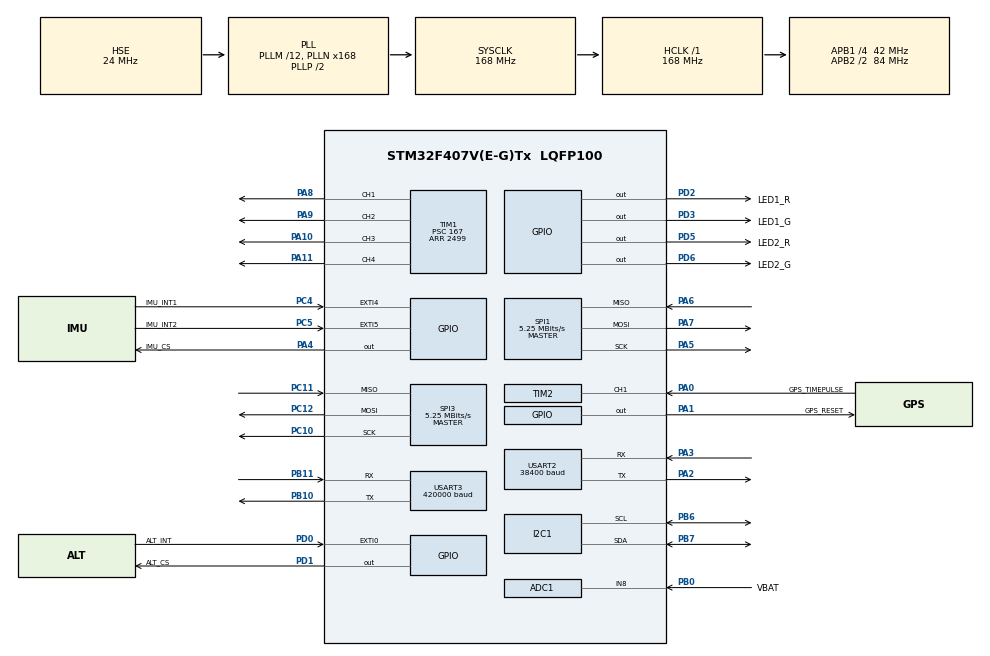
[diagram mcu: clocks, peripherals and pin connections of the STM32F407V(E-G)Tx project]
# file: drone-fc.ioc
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ADC1.Channel-0\#ChannelRegularConversion=ADC_CHANNEL_8
ADC1.NbrOfConversion=1
ADC1.NbrOfConversionFlag=1
ADC1.Rank-0\#ChannelRegularConversion=1
ADC1.SamplingTime-0\#ChannelRegularConversion=ADC_SAMPLETIME_480CYCLES
ADC1.master=1
Dma.Request0=SPI1_RX
Dma.Request1=SPI1_TX
Dma.Request2=USART2_RX
Dma.Request3=USART3_RX
Dma.Request4=SPI3_RX
Dma.Request5=SPI3_TX
Dma.SPI1_RX.0.Direction=DMA_PERIPH_TO_MEMORY
Dma.SPI1_RX.0.FIFOMode=DMA_FIFOMODE_DISABLE
Dma.SPI1_RX.0.Instance=DMA2_Stream0
Dma.SPI1_RX.0.MemDataAlignment=DMA_MDATAALIGN_BYTE
Dma.SPI1_RX.0.MemInc=DMA_MINC_ENABLE
Dma.SPI1_RX.0.Mode=DMA_NORMAL
Dma.SPI1_RX.0.PeriphDataAlignment=DMA_PDATAALIGN_BYTE
Dma.SPI1_RX.0.PeriphInc=DMA_PINC_DISABLE
Dma.SPI1_RX.0.Priority=DMA_PRIORITY_VERY_HIGH
Dma.SPI1_TX.1.Direction=DMA_MEMORY_TO_PERIPH
Dma.SPI1_TX.1.FIFOMode=DMA_FIFOMODE_DISABLE
Dma.SPI1_TX.1.Instance=DMA2_Stream3
Dma.SPI1_TX.1.MemDataAlignment=DMA_MDATAALIGN_BYTE
Dma.SPI1_TX.1.MemInc=DMA_MINC_ENABLE
Dma.SPI1_TX.1.Mode=DMA_NORMAL
Dma.SPI1_TX.1.PeriphDataAlignment=DMA_PDATAALIGN_BYTE
Dma.SPI1_TX.1.PeriphInc=DMA_PINC_DISABLE
Dma.SPI1_TX.1.Priority=DMA_PRIORITY_VERY_HIGH
Dma.SPI3_RX.4.Direction=DMA_PERIPH_TO_MEMORY
Dma.SPI3_RX.4.FIFOMode=DMA_FIFOMODE_DISABLE
Dma.SPI3_RX.4.Instance=DMA1_Stream0
Dma.SPI3_RX.4.MemDataAlignment=DMA_MDATAALIGN_BYTE
Dma.SPI3_RX.4.MemInc=DMA_MINC_ENABLE
Dma.SPI3_RX.4.Mode=DMA_NORMAL
Dma.SPI3_RX.4.PeriphDataAlignment=DMA_PDATAALIGN_BYTE
Dma.SPI3_RX.4.PeriphInc=DMA_PINC_DISABLE
Dma.SPI3_RX.4.Priority=DMA_PRIORITY_MEDIUM
Dma.SPI3_TX.5.Direction=DMA_MEMORY_TO_PERIPH
Dma.SPI3_TX.5.FIFOMode=DMA_FIFOMODE_DISABLE
Dma.SPI3_TX.5.Instance=DMA1_Stream7
Dma.SPI3_TX.5.MemDataAlignment=DMA_MDATAALIGN_BYTE
Dma.SPI3_TX.5.MemInc=DMA_MINC_ENABLE
Dma.SPI3_TX.5.Mode=DMA_NORMAL
Dma.SPI3_TX.5.PeriphDataAlignment=DMA_PDATAALIGN_BYTE
Dma.SPI3_TX.5.PeriphInc=DMA_PINC_DISABLE
Dma.SPI3_TX.5.Priority=DMA_PRIORITY_MEDIUM
Dma.USART2_RX.2.Direction=DMA_PERIPH_TO_MEMORY
Dma.USART2_RX.2.FIFOMode=DMA_FIFOMODE_DISABLE
Dma.USART2_RX.2.Instance=DMA1_Stream5
Dma.USART2_RX.2.MemDataAlignment=DMA_MDATAALIGN_BYTE
Dma.USART2_RX.2.MemInc=DMA_MINC_ENABLE
Dma.USART2_RX.2.Mode=DMA_CIRCULAR
Dma.USART2_RX.2.PeriphDataAlignment=DMA_PDATAALIGN_BYTE
Dma.USART2_RX.2.PeriphInc=DMA_PINC_DISABLE
Dma.USART2_RX.2.Priority=DMA_PRIORITY_HIGH
Dma.USART3_RX.3.Direction=DMA_PERIPH_TO_MEMORY
Dma.USART3_RX.3.FIFOMode=DMA_FIFOMODE_DISABLE
Dma.USART3_RX.3.Instance=DMA1_Stream1
Dma.USART3_RX.3.MemDataAlignment=DMA_MDATAALIGN_BYTE
Dma.USART3_RX.3.MemInc=DMA_MINC_ENABLE
Dma.USART3_RX.3.Mode=DMA_CIRCULAR
Dma.USART3_RX.3.PeriphDataAlignment=DMA_PDATAALIGN_BYTE
Dma.USART3_RX.3.PeriphInc=DMA_PINC_DISABLE
Dma.USART3_RX.3.Priority=DMA_PRIORITY_HIGH
Mcu.Family=STM32F4
Mcu.Name=STM32F407V(E-G)Tx
Mcu.Package=LQFP100
NVIC.DMA1_Stream0_IRQn=true\:3\:0\:true\:false\:true\:false\:true\:true
NVIC.DMA1_Stream1_IRQn=true\:3\:0\:true\:false\:true\:false\:true\:true
NVIC.DMA1_Stream5_IRQn=true\:3\:0\:true\:false\:true\:false\:true\:true
NVIC.DMA1_Stream7_IRQn=true\:3\:0\:true\:false\:true\:false\:true\:true
NVIC.DMA2_Stream0_IRQn=true\:0\:0\:false\:false\:true\:false\:true\:true
NVIC.DMA2_Stream3_IRQn=true\:0\:0\:false\:false\:true\:false\:true\:true
NVIC.EXTI0_IRQn=true\:4\:0\:true\:false\:true\:true\:true\:true
NVIC.EXTI4_IRQn=true\:0\:0\:true\:false\:true\:true\:true\:true
NVIC.PriorityGroup=NVIC_PRIORITYGROUP_4
NVIC.TIM3_IRQn=true\:7\:0\:true\:false\:true\:true\:true\:true
NVIC.USART2_IRQn=true\:3\:0\:true\:false\:true\:true\:true\:true
NVIC.USART3_IRQn=true\:3\:0\:true\:false\:true\:true\:true\:true
PA0-WKUP.GPIO_Label=GPS_TIMEPULSE
PA0-WKUP.Signal=S_TIM2_CH1_ETR
PA1.GPIO_Label=GPS_RESET
PA1.PinState=GPIO_PIN_SET
PA1.Signal=GPIO_Output
PA10.Signal=S_TIM1_CH3
PA11.Signal=S_TIM1_CH4
PA13.Signal=SYS_JTMS-SWDIO
PA14.Signal=SYS_JTCK-SWCLK
PA2.Mode=Asynchronous
PA2.Signal=USART2_TX
PA3.Mode=Asynchronous
PA3.Signal=USART2_RX
PA4.GPIO_Label=IMU_CS
PA4.PinState=GPIO_PIN_SET
PA4.Signal=GPIO_Output
PA5.Mode=Full_Duplex_Master
PA5.Signal=SPI1_SCK
PA6.Mode=Full_Duplex_Master
PA6.Signal=SPI1_MISO
PA7.Mode=Full_Duplex_Master
PA7.Signal=SPI1_MOSI
PA8.Signal=S_TIM1_CH1
PA9.Signal=S_TIM1_CH2
PB0.GPIO_Label=VBAT
PB0.Signal=ADCx_IN8
PB10.Mode=Asynchronous
PB10.Signal=USART3_TX
PB11.Mode=Asynchronous
PB11.Signal=USART3_RX
PB6.Mode=I2C
PB6.Signal=I2C1_SCL
PB7.Mode=I2C
PB7.Signal=I2C1_SDA
PC10.Mode=Full_Duplex_Master
PC10.Signal=SPI3_SCK
PC11.Mode=Full_Duplex_Master
PC11.Signal=SPI3_MISO
PC12.Mode=Full_Duplex_Master
PC12.Signal=SPI3_MOSI
PC4.GPIO_Label=IMU_INT1
PC4.Signal=GPXTI4
PC5.GPIO_Label=IMU_INT2
PC5.Signal=GPXTI5
PD0.GPIO_Label=ALT_INT
PD0.Signal=GPXTI0
PD1.GPIO_Label=ALT_CS
PD1.PinState=GPIO_PIN_SET
PD1.Signal=GPIO_Output
PD2.GPIO_Label=LED1_R
PD2.PinState=GPIO_PIN_SET
PD2.Signal=GPIO_Output
PD3.GPIO_Label=LED1_G
PD3.PinState=GPIO_PIN_SET
PD3.Signal=GPIO_Output
PD5.GPIO_Label=LED2_R
PD5.PinState=GPIO_PIN_SET
PD5.Signal=GPIO_Output
PD6.GPIO_Label=LED2_G
PD6.PinState=GPIO_PIN_SET
PD6.Signal=GPIO_Output
PH0-OSC_IN.Mode=HSE-External-Oscillator
PH0-OSC_IN.Signal=RCC_OSC_IN
PH1-OSC_OUT.Mode=HSE-External-Oscillator
PH1-OSC_OUT.Signal=RCC_OSC_OUT
ProjectManager.HeapSize=0x200
ProjectManager.StackSize=0x1000
ProjectManager.TargetToolchain=CMake
RCC.48MHZClocksFreq_Value=84000000
RCC.AHBFreq_Value=168000000
RCC.APB1CLKDivider=RCC_HCLK_DIV4
RCC.APB1Freq_Value=42000000
RCC.APB1TimFreq_Value=84000000
RCC.APB2CLKDivider=RCC_HCLK_DIV2
RCC.APB2Freq_Value=84000000
RCC.APB2TimFreq_Value=168000000
RCC.CortexFreq_Value=168000000
RCC.HCLKFreq_Value=168000000
RCC.HSE_VALUE=24000000
RCC.HSI_VALUE=16000000
RCC.LSE_VALUE=32768
RCC.PLLM=12
RCC.PLLN=168
RCC.PLLSourceVirtual=RCC_PLLSOURCE_HSE
RCC.SYSCLKFreq_VALUE=168000000
RCC.SYSCLKSource=RCC_SYSCLKSOURCE_PLLCLK
RCC.VCOOutputFreq_Value=336000000
SH.ADCx_IN8.0=ADC1_IN8,IN8
SH.S_TIM1_CH1.0=TIM1_CH1,PWM Generation1 CH1
SH.S_TIM1_CH2.0=TIM1_CH2,PWM Generation2 CH2
SH.S_TIM1_CH3.0=TIM1_CH3,PWM Generation3 CH3
SH.S_TIM1_CH4.0=TIM1_CH4,PWM Generation4 CH4
SH.S_TIM2_CH1_ETR.0=TIM2_CH1,Input_Capture1_from_TI1
SPI1.BaudRatePrescaler=SPI_BAUDRATEPRESCALER_16
SPI1.CLKPhase=SPI_PHASE_2EDGE
SPI1.CLKPolarity=SPI_POLARITY_HIGH
SPI1.CalculateBaudRate=5.25 MBits/s
SPI1.Direction=SPI_DIRECTION_2LINES
SPI1.Mode=SPI_MODE_MASTER
SPI1.VirtualType=VM_MASTER
SPI3.BaudRatePrescaler=SPI_BAUDRATEPRESCALER_8
SPI3.CLKPhase=SPI_PHASE_2EDGE
SPI3.CLKPolarity=SPI_POLARITY_HIGH
SPI3.CalculateBaudRate=5.25 MBits/s
SPI3.Direction=SPI_DIRECTION_2LINES
SPI3.Mode=SPI_MODE_MASTER
SPI3.VirtualType=VM_MASTER
TIM1.Channel-PWM\ Generation1\ CH1=TIM_CHANNEL_1
TIM1.Channel-PWM\ Generation2\ CH2=TIM_CHANNEL_2
TIM1.Channel-PWM\ Generation3\ CH3=TIM_CHANNEL_3
TIM1.Channel-PWM\ Generation4\ CH4=TIM_CHANNEL_4
TIM1.Period=2499
TIM1.Prescaler=167
TIM2.Channel-Input_Capture1_from_TI1=TIM_CHANNEL_1
TIM3.Period=1999
TIM3.Prescaler=8499
USART2.BaudRate=38400
USART2.VirtualMode=VM_ASYNC
USART3.BaudRate=420000
USART3.VirtualMode=VM_ASYNC
VP_TIM1_VS_ClockSourceINT.Mode=Internal
VP_TIM3_VS_ClockSourceINT.Mode=Internal
board=custom

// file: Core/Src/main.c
/* USER CODE BEGIN Header */
/**
  ******************************************************************************
  * @file           : main.c
  * @brief          : Flight controller firmware
  * @author					: Nestor Stavrakoudis
  ******************************************************************************
  * Firmware for the autonomous drone's flight controller board.
  * Blocks outside USER CODE delimiters are automatically
  * generated by STM32CubeMX.
  ******************************************************************************
**/

/* USER CODE END Header */
#include "main.h"
#include "adc.h"
#include "dma.h"
#include "i2c.h"
#include "iwdg.h"
#include "spi.h"
#include "tim.h"
#include "usart.h"
#include "gpio.h"

/* USER CODE BEGIN Includes */
#include <math.h>

#include "lsm6dsv32x.h" // IMU header
#include "bmp388.h"			// Barometer header
#include "sam_m10q.h"		// GPS header
#include "ep1.h"				// Radio receiver header
/* USER CODE END Includes */

/* USER CODE BEGIN PTD */
typedef enum {
	AUTONOMOUS,
	MANUAL_ONLY,
	FATAL,
	UNDETERMINED
} Sensor_Status;

typedef struct {
	float roll;
	float pitch;
	float yaw;
} Attitude;

typedef struct {
	int16_t FL;	//Front left
	int16_t FR;	//Front right
	int16_t BL;	//Back left
	int16_t BR;	//Back right
} Motor_PWM_Packet;
/* USER CODE END PTD */

/* USER CODE BEGIN PD */
#define RAD_TO_DEG 57.2957795131f		// We avoid 180/M_PI to save CPU work

/* PID values follow, these are just placeholders and must be experimentally tested*/
#define PITCH_P	1.5f		// Proportional term of the pitch PID loop.
#define PITCH_I	0.001f		// Integral term of the pitch PID loop.
#define PITCH_D	200.0f		// Derivative term of the pitch PID loop.

#define ROLL_P	1.5f		// Proportional term of the roll PID loop.
#define ROLL_I	0.001f		// Integral term of the roll PID loop.
#define ROLL_D	200.0f		// Derivative term of the roll PID loop.

#define YAW_P	0.7f				// Proportianal term of the yaw PID loop.
#define YAW_I	0.005f			// Integral term of the yaw PID loop.
// Yaw does not usually have a derivative term

#define ROLL_PITCH_AUTHORITY 2.5f		// Yaw output is divided by this to keep roll/pitch the most important factors

#define PID_I_LIMIT		10000.0f		// PID integral term clamp
#define PID_OUT_LIMIT	400.0f		// Maximum output
#define THROTTLE_I_THRESHOLD	0.1f	// Below a certain throttle (for example on ground) we shouldn't use
																	// the integrator term because it keeps rising

#define RADIO_TIMEOUT	300				// Timeout in milliseconds

#define EXTREME_STATE_THRESHOLD	200	// Held more than these samples in extreme state shuts motors off
#define EXTREME_STATE_ANGLE			70	// Extreme state angle threshold

#define MOTOR_TIMER		&htim1
#define MOTOR_FL				TIM_CHANNEL_1
#define MOTOR_FR				TIM_CHANNEL_2
#define MOTOR_BL				TIM_CHANNEL_3
#define MOTOR_BR				TIM_CHANNEL_4
/* USER CODE END PD */

/* USER CODE BEGIN PM */

#define LED1_R_On()	(HAL_GPIO_WritePin(LED1_R_GPIO_Port,LED1_R_Pin,GPIO_PIN_RESET))
#define LED1_G_On()	(HAL_GPIO_WritePin(LED1_G_GPIO_Port,LED1_G_Pin,GPIO_PIN_RESET))
#define LED2_R_On()	(HAL_GPIO_WritePin(LED2_R_GPIO_Port,LED2_R_Pin,GPIO_PIN_RESET))
#define LED2_G_On()	(HAL_GPIO_WritePin(LED2_G_GPIO_Port,LED2_G_Pin,GPIO_PIN_RESET))

#define LED1_R_Off()	(HAL_GPIO_WritePin(LED1_R_GPIO_Port,LED1_R_Pin,GPIO_PIN_SET))
#define LED1_G_Off()	(HAL_GPIO_WritePin(LED1_G_GPIO_Port,LED1_G_Pin,GPIO_PIN_SET))
#define LED2_R_Off()	(HAL_GPIO_WritePin(LED2_R_GPIO_Port,LED2_R_Pin,GPIO_PIN_SET))
#define LED2_G_Off()	(HAL_GPIO_WritePin(LED2_G_GPIO_Port,LED2_G_Pin,GPIO_PIN_SET))

#define LED1_R_Toggle()	(HAL_GPIO_TogglePin(LED1_R_GPIO_Port,LED1_R_Pin))
#define LED1_G_Toggle()	(HAL_GPIO_TogglePin(LED1_G_GPIO_Port,LED1_G_Pin))
#define LED2_R_Toggle()	(HAL_GPIO_TogglePin(LED2_R_GPIO_Port,LED2_R_Pin))
#define LED2_G_Toggle()	(HAL_GPIO_TogglePin(LED2_G_GPIO_Port,LED2_G_Pin))
/* USER CODE END PM */

/* USER CODE BEGIN PV */
volatile Sensor_Status sensor_status = UNDETERMINED;
volatile Attitude attitude;				// Attitude
volatile Attitude attitude_accel;	// Attitude (accelerometer only)
volatile Attitude error;
volatile Attitude error_old;

volatile Motor_PWM_Packet Motor_PWM;

volatile float roll_error_i;		// integral accumulator of roll pid loop
volatile float pitch_error_i;		// integral accumulator of pitch pid loop

volatile float yaw_rate_error;	// integral accumulator of yaw rate
volatile float yaw_error_i;			// integral accumulator of yaw pid loop

volatile uint16_t extreme_state_counter = 0;	// Used for detecting crashed orientations

volatile uint8_t failsafe = 0;
volatile uint8_t arm_switch_seen_low = 0;

/* USER CODE END PV */

void SystemClock_Config(void);

/* USER CODE BEGIN 0 */
void IMU_TxRxCpltCallback();
void ALT_TxRxCpltCallback();

void LED_Test_Sequence();

void HAL_SPI_TxRxCpltCallback(SPI_HandleTypeDef *hspi){
	if (hspi == IMU_INTERFACE){ // These events refer to the IMU SPI DMA.
		IMU_TxRxCpltCallback();
	}
	if (hspi == ALT_INTERFACE){
		ALT_TxRxCpltCallback();
	}
}

void IMU_TxRxCpltCallback(){
	HAL_GPIO_WritePin(IMU_CS_GPIO_Port, IMU_CS_Pin, GPIO_PIN_SET);
	switch(IMU_Current_DMA_Transaction) {
		case IMU_WRITE_REG:
			break; // No additional processing is required on register write.
		case IMU_SINGLE_REG:
			break; // Not used yet (all single register reads use blocking mode)
		case IMU_PACKET: // Parse IMU Packet
			failsafe = (HAL_GetTick() - Radio_Timestamp >= RADIO_TIMEOUT)
				                || extreme_state_counter >= EXTREME_STATE_THRESHOLD
				                || Radio_Scaled.kill || !IMU_Calibrated;

			IMU_Raw.A_X = (IMU_SPI_IMUPacket_RX[IMU_OUTX_H_A-0x21] << 8) + IMU_SPI_IMUPacket_RX[IMU_OUTX_L_A-0x21];
			IMU_Raw.A_Y = (IMU_SPI_IMUPacket_RX[IMU_OUTY_H_A-0x21] << 8) + IMU_SPI_IMUPacket_RX[IMU_OUTY_L_A-0x21];
			IMU_Raw.A_Z = (IMU_SPI_IMUPacket_RX[IMU_OUTZ_H_A-0x21] << 8) + IMU_SPI_IMUPacket_RX[IMU_OUTZ_L_A-0x21];

			IMU_Raw.G_X = (IMU_SPI_IMUPacket_RX[IMU_OUTX_H_G-0x21] << 8) + IMU_SPI_IMUPacket_RX[IMU_OUTX_L_G-0x21];
			IMU_Raw.G_Y = (IMU_SPI_IMUPacket_RX[IMU_OUTY_H_G-0x21] << 8) + IMU_SPI_IMUPacket_RX[IMU_OUTY_L_G-0x21];
			IMU_Raw.G_Z = (IMU_SPI_IMUPacket_RX[IMU_OUTZ_H_G-0x21] << 8) + IMU_SPI_IMUPacket_RX[IMU_OUTZ_L_G-0x21];

			IMU_Data.A_X = IMU_Raw.A_X * 0.976f - IMU_Bias.A_X;	// Scaling factor comes from "Linear
			IMU_Data.A_Y = IMU_Raw.A_Y * 0.976f - IMU_Bias.A_Y;	// acceleration sensitivity", p.12 on datasheet
			IMU_Data.A_Z = IMU_Raw.A_Z * 0.976f - IMU_Bias.A_Z;

			IMU_Data.G_X = IMU_Raw.G_X * 0.07f - IMU_Bias.G_X;	// Scaling factor comes from "Angular
			IMU_Data.G_Y = IMU_Raw.G_Y * 0.07f - IMU_Bias.G_Y;	// rate sensitivity", p.12 on datasheet
			IMU_Data.G_Z = IMU_Raw.G_Z * 0.07f - IMU_Bias.G_Z;

			IMU_Angles.G_X += IMU_Data.G_X / 1920.0f;	// Integrate rates
			IMU_Angles.G_Y += IMU_Data.G_Y / 1920.0f;
			IMU_Angles.G_Z += IMU_Data.G_Z / 1920.0f;

			error_old.roll = Radio_Scaled.roll - attitude.roll;
			error_old.pitch = Radio_Scaled.pitch - attitude.pitch;

			attitude_accel.roll = atan2f(IMU_Data.A_Y, IMU_Data.A_Z);
			attitude_accel.roll *= RAD_TO_DEG;
			attitude.roll += IMU_Data.G_X*0.000520833f;//1/1920
			attitude.roll = IMU_FILTER_COEFFICIENT * attitude.roll + (1-IMU_FILTER_COEFFICIENT) *
					attitude_accel.roll;		// Complementary filter for roll

			attitude_accel.pitch = atan2f(-IMU_Data.A_X, sqrtf(IMU_Data.A_Y*IMU_Data.A_Y + IMU_Data.A_Z*IMU_Data.A_Z));
			attitude_accel.pitch *= RAD_TO_DEG;
			attitude.pitch += IMU_Data.G_Y*0.000520833f;//1/1920
			attitude.pitch = IMU_FILTER_COEFFICIENT * attitude.pitch + (1-IMU_FILTER_COEFFICIENT) *
								attitude_accel.pitch;	// Complementary filter for pitch

			attitude.yaw += IMU_Data.G_Z*0.000520833f;	// Yaw has no complementary filter as gravity reference does not change by rotating about the yaw axis

			if(IMU_Calibrated){
				roll_error_i += Radio_Scaled.roll-attitude.roll;
				roll_error_i *= ((!Radio_Scaled.armed ||
						Radio_Scaled.throttle < THROTTLE_I_THRESHOLD)?0:1);
				if(roll_error_i>PID_I_LIMIT) roll_error_i=PID_I_LIMIT;
				if(roll_error_i<-PID_I_LIMIT) roll_error_i=-PID_I_LIMIT;

				pitch_error_i += Radio_Scaled.pitch-attitude.pitch;
				pitch_error_i *= ((!Radio_Scaled.armed ||
						Radio_Scaled.throttle < THROTTLE_I_THRESHOLD)?0:1);
				if(pitch_error_i>PID_I_LIMIT) pitch_error_i=PID_I_LIMIT;
				if(pitch_error_i<-PID_I_LIMIT) pitch_error_i=-PID_I_LIMIT;

				yaw_error_i += Radio_Scaled.yaw-IMU_Data.G_Z;
				yaw_error_i *= ((!Radio_Scaled.armed ||
						Radio_Scaled.throttle < THROTTLE_I_THRESHOLD)?0:1);
				if(yaw_error_i>PID_I_LIMIT) yaw_error_i=PID_I_LIMIT;
				if(yaw_error_i<-PID_I_LIMIT) yaw_error_i=-PID_I_LIMIT;

				error.roll = ROLL_P * (Radio_Scaled.roll - attitude.roll) +
						ROLL_I * roll_error_i +
						ROLL_D * ((Radio_Scaled.roll - attitude.roll) - error_old.roll);	// PID loop for roll
				if(error.roll>PID_OUT_LIMIT) error.roll = PID_OUT_LIMIT;
				if(error.roll<-PID_OUT_LIMIT) error.roll = -PID_OUT_LIMIT;

				error.pitch = PITCH_P * (Radio_Scaled.pitch - attitude.pitch) +
						PITCH_I * pitch_error_i +
						PITCH_D * ((Radio_Scaled.pitch - attitude.pitch) - error_old.pitch);	// PID loop for pitch
				if(error.pitch>PID_OUT_LIMIT) error.pitch = PID_OUT_LIMIT;
				if(error.pitch<-PID_OUT_LIMIT) error.pitch = -PID_OUT_LIMIT;

				error.yaw = YAW_P * (Radio_Scaled.yaw - IMU_Data.G_Z) +
						YAW_I * yaw_error_i;	// PID loop for yaw
				if(error.yaw>PID_OUT_LIMIT) error.yaw = PID_OUT_LIMIT;
				if(error.yaw<-PID_OUT_LIMIT) error.yaw = -PID_OUT_LIMIT;
				error.yaw /= ROLL_PITCH_AUTHORITY;	// Keep pitch/roll the most impactful steering factors
			}

			if(extreme_state_counter >= EXTREME_STATE_THRESHOLD)
				Radio_Scaled.armed = 0;

			if(fabsf(attitude.pitch) >= EXTREME_STATE_ANGLE || fabsf(attitude.roll) >= EXTREME_STATE_ANGLE){
				if(extreme_state_counter < EXTREME_STATE_THRESHOLD)
					extreme_state_counter += 1;
			}

			if(fabsf(attitude.pitch) < EXTREME_STATE_ANGLE && fabsf(attitude.roll) < EXTREME_STATE_ANGLE)
				extreme_state_counter = 0;

			if(failsafe) {
							Radio_Scaled.armed = 0;
							arm_switch_seen_low = 0;
			}
			if(Radio_Scaled.armed_position < RADIO_CENTER) {
							Radio_Scaled.armed = 0;
							arm_switch_seen_low = 1; 	// This is used so that if the failsafe is resolved the motors don't spin immediately causing injury / damage
			} else if(arm_switch_seen_low && !failsafe && Radio_Scaled.throttle < 0.1 && Radio_Scaled.armed_position >= RADIO_CENTER) {
							Radio_Scaled.armed = 1;
							arm_switch_seen_low = 0;
			}
			/* Motor mixer */
			Motor_PWM.FL = Radio_Scaled.throttle * 1000 + error.roll - error.pitch - error.yaw;	// PID loop is maxing out on 400 (160 for yaw) so we multiply throttle by 1000 (arbitrarily)
			Motor_PWM.FR = Radio_Scaled.throttle * 1000 - error.roll - error.pitch + error.yaw;
			Motor_PWM.BL = Radio_Scaled.throttle * 1000 + error.roll + error.pitch + error.yaw;
			Motor_PWM.BR = Radio_Scaled.throttle * 1000 - error.roll + error.pitch - error.yaw;

			if(Motor_PWM.FL > 1000) Motor_PWM.FL = 1000;
			if(Motor_PWM.FR > 1000) Motor_PWM.FR = 1000;
			if(Motor_PWM.BL > 1000) Motor_PWM.BL = 1000;
			if(Motor_PWM.BR > 1000) Motor_PWM.BR = 1000;

			if(Motor_PWM.FL < 0) Motor_PWM.FL = 0;
			if(Motor_PWM.FR < 0) Motor_PWM.FR = 0;
			if(Motor_PWM.BL < 0) Motor_PWM.BL = 0;
			if(Motor_PWM.BR < 0) Motor_PWM.BR = 0;

			if(HAL_GetTick() - Radio_Timestamp >= RADIO_TIMEOUT)
				Radio_Scaled.armed = 0;

			if(!Radio_Scaled.armed || Radio_Scaled.kill || !IMU_Calibrated) { // Unless properly calibrated and armed stop the motors
				Motor_PWM.FL = 0;
				Motor_PWM.FR = 0;
				Motor_PWM.BL = 0;
				Motor_PWM.BR = 0;
			}

			Motor_PWM.FL+=1000; // Output should be period in us, 1000-2000
			Motor_PWM.FR+=1000;
			Motor_PWM.BL+=1000;
			Motor_PWM.BR+=1000;

			__HAL_TIM_SET_COMPARE(MOTOR_TIMER,MOTOR_FL,Motor_PWM.FL);  // Write the CCR to set the PWM duty cycle
			__HAL_TIM_SET_COMPARE(MOTOR_TIMER,MOTOR_FR,Motor_PWM.FR);
			__HAL_TIM_SET_COMPARE(MOTOR_TIMER,MOTOR_BL,Motor_PWM.BL);
			__HAL_TIM_SET_COMPARE(MOTOR_TIMER,MOTOR_BR,Motor_PWM.BR);

			IWDG->KR = 0xAAAA;	// Watchdog refill
			break;
	}
}

void ALT_TxRxCpltCallback(){
	HAL_GPIO_WritePin(ALT_CS_GPIO_Port, ALT_CS_Pin, GPIO_PIN_SET);
	switch(ALT_Current_DMA_Transaction) {
		case ALT_WRITE_REG:
			break; // No additional processing is required on register write.
		case ALT_SINGLE_REG:
			break; // Not used yet (all single register reads use blocking mode)
		case ALT_PACKET: // Parse barometer Packet
			ALT_Raw.P = (ALT_SPI_ALTPacket_RX[ALT_OUT_PRES_H-0x02] << 16)
								+ (ALT_SPI_ALTPacket_RX[ALT_OUT_PRES_M-0x02] << 8)
								+ ALT_SPI_ALTPacket_RX[ALT_OUT_PRES_L-0x02];

			ALT_Raw.T = (ALT_SPI_ALTPacket_RX[ALT_OUT_TEMP_H-0x02] << 16)
								+ (ALT_SPI_ALTPacket_RX[ALT_OUT_TEMP_M-0x02] << 8)
								+ ALT_SPI_ALTPacket_RX[ALT_OUT_TEMP_L-0x02];

			ALT_Compensate();
			break;
	}
}

void LED_Test_Sequence(){
  HAL_GPIO_TogglePin(LED1_R_GPIO_Port, LED1_R_Pin);  // ON (pull low)
  HAL_Delay(200);
	IWDG->KR = 0xAAAA;	// Watchdog refill
  HAL_GPIO_TogglePin(LED1_G_GPIO_Port, LED1_G_Pin);
  HAL_Delay(200);
	IWDG->KR = 0xAAAA;
  HAL_GPIO_TogglePin(LED2_R_GPIO_Port, LED2_R_Pin);
  HAL_Delay(200);
  IWDG->KR = 0xAAAA;
  HAL_GPIO_TogglePin(LED2_G_GPIO_Port, LED2_G_Pin);
  HAL_Delay(200);
  IWDG->KR = 0xAAAA;

  HAL_GPIO_TogglePin(LED1_R_GPIO_Port, LED1_R_Pin);
  HAL_Delay(200);
  IWDG->KR = 0xAAAA;
  HAL_GPIO_TogglePin(LED1_G_GPIO_Port, LED1_G_Pin);// OFF (release high)
  HAL_Delay(200);
  IWDG->KR = 0xAAAA;
  HAL_GPIO_TogglePin(LED2_R_GPIO_Port, LED2_R_Pin);
  HAL_Delay(200);
  IWDG->KR = 0xAAAA;
  HAL_GPIO_TogglePin(LED2_G_GPIO_Port, LED2_G_Pin);
  HAL_Delay(200);
  IWDG->KR = 0xAAAA;

  HAL_GPIO_TogglePin(LED1_R_GPIO_Port, LED1_R_Pin);
  HAL_GPIO_TogglePin(LED2_R_GPIO_Port, LED2_R_Pin);

}

void HAL_TIM_PeriodElapsedCallback(TIM_HandleTypeDef *htim){
	/* Used for blinking LEDs based on TIM3 */
	if(htim->Instance == TIM3){
		if(sensor_status == FATAL){
			LED1_G_Off();
			LED2_G_Off();
			LED1_R_Toggle();
			LED2_R_Toggle();

		} else if(sensor_status == MANUAL_ONLY) {
			LED1_G_On();
			if(GPS_Status == GPS_BOOTING)
				LED2_G_Toggle();	// GPS active but no fix
			else if(GPS_Status == GPS_OPERATIONAL)
				LED2_G_On();			// GPS position data coming in
			else
				LED2_G_Off();			// GPS inactive/dead
			LED1_R_Off();				// IMU operational
			LED2_R_Toggle();	// Barometer inactive/dead
		}
	}
	IWDG->KR = 0xAAAA;
}

void HAL_GPIO_EXTI_Callback(uint16_t EXTI_Pin){
	/* External interrupt callback */
	if(EXTI_Pin == ALT_INT_Pin){
		ALT_Read();
	}	else if(EXTI_Pin == IMU_INT1_Pin){
		IMU_Read();
	}
}
/* USER CODE END 0 */

int main(void)
{

  /* USER CODE BEGIN 1 */
	Radio_Scaled.pitch = 0;	// Initialize radio values to ensure no undefined behavior on startup
	Radio_Scaled.roll = 0;
	Radio_Scaled.throttle = 0;
	Radio_Scaled.yaw = 0;
	Radio_Scaled.armed = 0;
  /* USER CODE END 1 */

  /* MCU Configuration--------------------------------------------------------*/

  /* Reset of all peripherals, Initializes the Flash interface and the Systick. */
  HAL_Init();

  /* Configure the system clock */
  SystemClock_Config();

  /* Initialize all configured peripherals */
  MX_GPIO_Init();
  MX_DMA_Init();
  MX_ADC1_Init();
  MX_I2C1_Init();
  MX_SPI1_Init();
  MX_SPI3_Init();
  MX_TIM1_Init();
  MX_TIM2_Init();
  MX_USART2_UART_Init();
  MX_USART3_UART_Init();
  MX_TIM3_Init();
  MX_IWDG_Init();
  /* USER CODE BEGIN 2 */
  HAL_TIM_Base_Start_IT(&htim3);	// TIM3 has a period of 200ms and is used to blink LEDs for status.

  HAL_TIM_Base_Start(MOTOR_TIMER);
  HAL_TIM_PWM_Start(MOTOR_TIMER, MOTOR_FL);
  HAL_TIM_PWM_Start(MOTOR_TIMER, MOTOR_FR);
  HAL_TIM_PWM_Start(MOTOR_TIMER, MOTOR_BL);
  HAL_TIM_PWM_Start(MOTOR_TIMER, MOTOR_BR);

  __HAL_SPI_ENABLE(&hspi1);
  // LED testing sequence. Additionally, it gives time for everything to power up.
  LED_Test_Sequence();

  IMU_Test();		// Test the IMU
  if(IMU_Status == IMU_FAULTY){
  	sensor_status = FATAL;
  } else {
  	sensor_status = MANUAL_ONLY;
  	IMU_Init();
  }

  GPS_Init();
  Radio_Init();

  /* USER CODE END 2 */

  /* Infinite loop */
  while (1)
  {

  }
}

void SystemClock_Config(void)
{
  RCC_OscInitTypeDef RCC_OscInitStruct = {0};
  RCC_ClkInitTypeDef RCC_ClkInitStruct = {0};

  /** Configure the main internal regulator output voltage
  */
  __HAL_RCC_PWR_CLK_ENABLE();
  __HAL_PWR_VOLTAGESCALING_CONFIG(PWR_REGULATOR_VOLTAGE_SCALE1);

  /** Initializes the RCC Oscillators according to the specified parameters
  * in the RCC_OscInitTypeDef structure.
  */
  RCC_OscInitStruct.OscillatorType = RCC_OSCILLATORTYPE_LSI|RCC_OSCILLATORTYPE_HSE;
  RCC_OscInitStruct.HSEState = RCC_HSE_ON;
  RCC_OscInitStruct.LSIState = RCC_LSI_ON;
  RCC_OscInitStruct.PLL.PLLState = RCC_PLL_ON;
  RCC_OscInitStruct.PLL.PLLSource = RCC_PLLSOURCE_HSE;
  RCC_OscInitStruct.PLL.PLLM = 12;
  RCC_OscInitStruct.PLL.PLLN = 168;
  RCC_OscInitStruct.PLL.PLLP = RCC_PLLP_DIV2;
  RCC_OscInitStruct.PLL.PLLQ = 4;
  if (HAL_RCC_OscConfig(&RCC_OscInitStruct) != HAL_OK)
  {
    Error_Handler();
  }

  /** Initializes the CPU, AHB and APB buses clocks
  */
  RCC_ClkInitStruct.ClockType = RCC_CLOCKTYPE_HCLK|RCC_CLOCKTYPE_SYSCLK
                              |RCC_CLOCKTYPE_PCLK1|RCC_CLOCKTYPE_PCLK2;
  RCC_ClkInitStruct.SYSCLKSource = RCC_SYSCLKSOURCE_PLLCLK;
  RCC_ClkInitStruct.AHBCLKDivider = RCC_SYSCLK_DIV1;
  RCC_ClkInitStruct.APB1CLKDivider = RCC_HCLK_DIV4;
  RCC_ClkInitStruct.APB2CLKDivider = RCC_HCLK_DIV2;

  if (HAL_RCC_ClockConfig(&RCC_ClkInitStruct, FLASH_LATENCY_5) != HAL_OK)
  {
    Error_Handler();
  }
}

void Error_Handler(void)
{
  __disable_irq();
  while (1)
  {
  }
}
